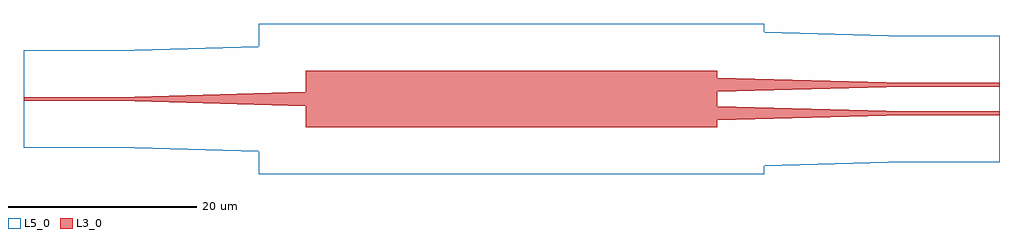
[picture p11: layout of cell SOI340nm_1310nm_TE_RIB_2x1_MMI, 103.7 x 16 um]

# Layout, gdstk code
import gdstk
lib = gdstk.Library(unit=1e-6, precision=1e-09)
def R(c, l, rs):  # rectangles x0, y0, x1, y1
    for r in rs: c.add(gdstk.rectangle(r[:2], r[2:], *l))
def P(c, l, *ps):  # polygons
    for p in ps: c.add(gdstk.Polygon(p, *l))
L3_0 = (3, 0)
L5_0 = (5, 0)

soi340nm_1310nm_te_rib_2 = lib.new_cell('SOI340nm_1310nm_TE_RIB_2x1_MMI')
R(soi340nm_1310nm_te_rib_2, L3_0, [(-21.85,-3,21.85,3), (41.85,-1.705,51.85,-1.305), (-51.85,-0.2,-41.85,0.2), (41.85,1.305,51.85,1.705)])
P(soi340nm_1310nm_te_rib_2, L3_0, [(21.85,0.755),(21.85,2.255),(41.85,1.705),(41.85,1.305)],
  [(21.85,-2.255),(21.85,-0.755),(41.85,-1.305),(41.85,-1.705)],
  [(-21.85,-0.75),(-41.85,-0.2),(-41.85,0.2),(-21.85,0.75)])
P(soi340nm_1310nm_te_rib_2, L5_0, [(-26.85,-8),(-26.85,-5.614),(-41.914,-5.2),(-51.85,-5.2),(-51.85,5.2),(-41.914,5.2),(-26.85,5.614),(-26.85,8),(26.85,8),(26.85,7.119),(41.914,6.705),(51.85,6.705),(51.85,-6.705),(41.914,-6.705),(26.85,-7.119),(26.85,-8)])

lib.write_gds('SOI340nm_1310nm_TE_RIB_2x1_MMI.gds')
